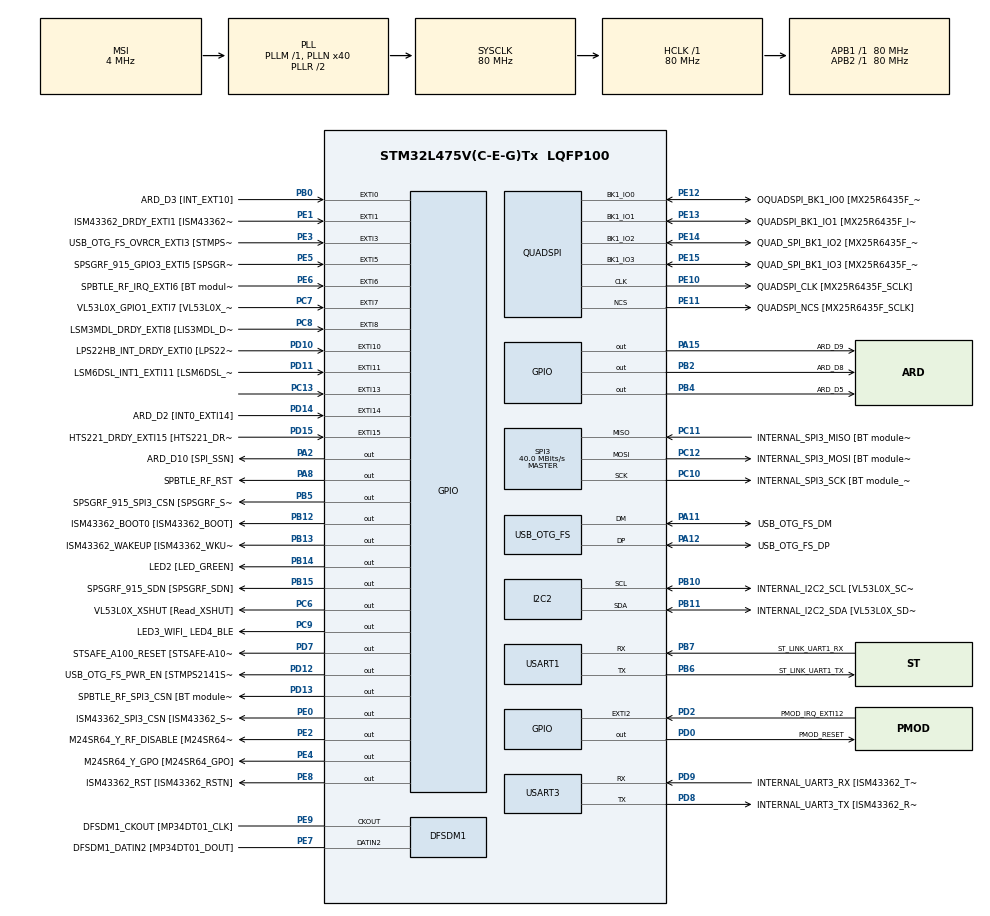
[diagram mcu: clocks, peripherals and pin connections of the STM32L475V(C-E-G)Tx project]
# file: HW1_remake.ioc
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FREERTOS.BinarySemaphores01=button,Dynamic,NULL,Available;timer,Dynamic,NULL,Available
FREERTOS.Mutexes01=blink,Dynamic,NULL,Available
FREERTOS.Tasks01=defaultTask,24,128,StartDefaultTask,Default,NULL,Dynamic,NULL,NULL;myTask02,47,128,StartTask02,Default,NULL,Dynamic,NULL,NULL
Mcu.Family=STM32L4
Mcu.Name=STM32L475V(C-E-G)Tx
Mcu.Package=LQFP100
NVIC.EXTI15_10_IRQn=true\:5\:0\:false\:false\:true\:true\:true\:true\:true
NVIC.EXTI9_5_IRQn=true\:5\:0\:false\:false\:true\:true\:true\:true\:true
NVIC.PriorityGroup=NVIC_PRIORITYGROUP_4
NVIC.TIM6_DAC_IRQn=true\:5\:0\:false\:false\:true\:true\:true\:true\:true
PA0.GPIO_Label=ARD_D1 [UART4_TX]
PA0.Signal=UART4_TX
PA1.GPIO_Label=ARD_D0 [UART4_RX]
PA1.Signal=UART4_RX
PA10.GPIO_Label=USB_OTG_FS_ID
PA10.Signal=USB_OTG_FS_ID
PA11.GPIO_Label=USB_OTG_FS_DM
PA11.Mode=Device_Only
PA11.Signal=USB_OTG_FS_DM
PA12.GPIO_Label=USB_OTG_FS_DP
PA12.Mode=Device_Only
PA12.Signal=USB_OTG_FS_DP
PA13\ (JTMS-SWDIO).GPIO_Label=SYS_JTMS_SWDIO
PA13\ (JTMS-SWDIO).Mode=Serial_Wire
PA13\ (JTMS-SWDIO).Signal=SYS_JTMS-SWDIO
PA14\ (JTCK-SWCLK).GPIO_Label=SYS_JTCK_SWCLK
PA14\ (JTCK-SWCLK).Mode=Serial_Wire
PA14\ (JTCK-SWCLK).Signal=SYS_JTCK-SWCLK
PA15\ (JTDI).GPIO_Label=ARD_D9
PA15\ (JTDI).Signal=GPIO_Output
PA2.GPIO_Label=ARD_D10 [SPI_SSN]
PA2.Signal=GPIO_Output
PA3.GPIO_Label=ARD_D4
PA3.Signal=S_TIM2_CH4
PA4.GPIO_Label=ARD_D7
PA4.Signal=ADCx_IN9
PA5.GPIO_Label=ARD_D13 [SPI1_SCK]
PA5.Signal=SPI1_SCK
PA6.GPIO_Label=ARD_D12 [SPI1_MISO]
PA6.Signal=SPI1_MISO
PA7.GPIO_Label=ARD_D11 [SPI1_MOSI]
PA7.Signal=SPI1_MOSI
PA8.GPIO_Label=SPBTLE_RF_RST
PA8.Signal=GPIO_Output
PA9.GPIO_Label=USB_OTG_FS_VBUS [STMPS2141STR_OUT]
PA9.Signal=USB_OTG_FS_VBUS
PB0.GPIO_Label=ARD_D3 [INT_EXT10]
PB0.Signal=GPXTI0
PB1.GPIO_Label=ARD_D6 [ADC1_IN6]
PB1.Signal=ADCx_IN16
PB10.GPIO_Label=INTERNAL_I2C2_SCL [VL53L0X_SCL]
PB10.GPIO_Pu=GPIO_PULLUP
PB10.Mode=I2C
PB10.Signal=I2C2_SCL
PB11.GPIO_Label=INTERNAL_I2C2_SDA [VL53L0X_SDA]
PB11.GPIO_Pu=GPIO_PULLUP
PB11.Mode=I2C
PB11.Signal=I2C2_SDA
PB12.GPIO_Label=ISM43362_BOOT0 [ISM43362_BOOT]
PB12.Signal=GPIO_Output
PB13.GPIO_Label=ISM43362_WAKEUP [ISM43362_WKUP]
PB13.Signal=GPIO_Output
PB14.GPIO_Label=LED2 [LED_GREEN]
PB14.Signal=GPIO_Output
PB15.GPIO_Label=SPSGRF_915_SDN [SPSGRF_SDN]
PB15.Signal=GPIO_Output
PB2.GPIO_Label=ARD_D8
PB2.Signal=GPIO_Output
PB3\ (JTDO-TRACESWO).GPIO_Label=SYS_JTD0_SWO
PB3\ (JTDO-TRACESWO).Signal=SYS_JTDO-SWO
PB4\ (NJTRST).GPIO_Label=ARD_D5
PB4\ (NJTRST).Signal=GPIO_Output
PB5.GPIO_Label=SPSGRF_915_SPI3_CSN [SPSGRF_SPI_CS]
PB5.PinState=GPIO_PIN_SET
PB5.Signal=GPIO_Output
PB6.GPIO_Label=ST_LINK_UART1_TX
PB6.Mode=Asynchronous
PB6.Signal=USART1_TX
PB7.GPIO_Label=ST_LINK_UART1_RX
PB7.Mode=Asynchronous
PB7.Signal=USART1_RX
PB8.GPIO_Label=ARD_D15 [I2C1_SCL]
PB8.Signal=I2C1_SCL
PB9.GPIO_Label=ARD_D14 [I2C1_SDA]
PB9.Signal=I2C1_SDA
PC0.GPIO_Label=ARD_A5 [ADC]
PC0.Signal=ADCx_IN1
PC1.GPIO_Label=ARD_A4 [ADC]
PC1.Signal=ADCx_IN2
PC10.GPIO_Label=INTERNAL_SPI3_SCK [BT module_SPI_SCLK] [ISM43362_SCK]
PC10.Mode=Full_Duplex_Master
PC10.Signal=SPI3_SCK
PC11.GPIO_Label=INTERNAL_SPI3_MISO [BT module_SPI_MISO] [ISM43362_MISO]
PC11.Mode=Full_Duplex_Master
PC11.Signal=SPI3_MISO
PC12.GPIO_Label=INTERNAL_SPI3_MOSI [BT module_SPI_MOSI] [ISM43362_MOSI]
PC12.Mode=Full_Duplex_Master
PC12.Signal=SPI3_MOSI
PC13.GPIO_ModeDefaultEXTI=GPIO_MODE_IT_FALLING
PC13.GPIO_PuPd=GPIO_PULLUP
PC13.Signal=GPXTI13
PC14-OSC32_IN\ (PC14).Mode=LSE-External-Oscillator
PC14-OSC32_IN\ (PC14).Signal=RCC_OSC32_IN
PC15-OSC32_OUT\ (PC15).Mode=LSE-External-Oscillator
PC15-OSC32_OUT\ (PC15).Signal=RCC_OSC32_OUT
PC2.GPIO_Label=ARD_A3 [ADC]
PC2.Signal=ADCx_IN3
PC3.GPIO_Label=ARD_A2 [ADC]
PC3.Signal=ADCx_IN4
PC4.GPIO_Label=ARD_A1 [ADC]
PC4.Signal=ADCx_IN13
PC5.GPIO_Label=ARD_A0 [ADC]
PC5.Signal=ADCx_IN14
PC6.GPIO_Label=VL53L0X_XSHUT [Read_XSHUT]
PC6.Signal=GPIO_Output
PC7.GPIO_Label=VL53L0X_GPIO1_EXTI7 [VL53L0X_GPIO1]
PC7.Signal=GPXTI7
PC8.GPIO_Label=LSM3MDL_DRDY_EXTI8 [LIS3MDL_DRDY]
PC8.Signal=GPXTI8
PC9.GPIO_Label=LED3_WIFI_ LED4_BLE
PC9.Signal=GPIO_Output
PD0.GPIO_Label=PMOD_RESET
PD0.Signal=GPIO_Output
PD1.GPIO_Label=PMOD_SPI2_SCK
PD1.Signal=SPI2_SCK
PD10.GPIO_Label=LPS22HB_INT_DRDY_EXTI0 [LPS22HB_INT_DRDY] 
PD10.Signal=GPXTI10
PD11.GPIO_Label=LSM6DSL_INT1_EXTI11 [LSM6DSL_INT1]
PD11.Signal=GPXTI11
PD12.GPIO_Label=USB_OTG_FS_PWR_EN [STMPS2141STR_EN]
PD12.Signal=GPIO_Output
PD13.GPIO_Label=SPBTLE_RF_SPI3_CSN [BT module_SPI_CS]
PD13.PinState=GPIO_PIN_SET
PD13.Signal=GPIO_Output
PD14.GPIO_Label=ARD_D2 [INT0_EXTI14]
PD14.Signal=GPXTI14
PD15.GPIO_Label=HTS221_DRDY_EXTI15 [HTS221_DRDY]
PD15.Signal=GPXTI15
PD2.GPIO_Label=PMOD_IRQ_EXTI12
PD2.Signal=GPXTI2
PD3.GPIO_Label=PMOD_UART2_CTS
PD3.Signal=USART2_CTS
PD4.GPIO_Label=PMOD_UART2_RTS
PD4.Signal=USART2_RTS
PD5.GPIO_Label=PMOD_UART2_TX
PD5.Signal=USART2_TX
PD6.GPIO_Label=PMOD_UART2_RX
PD6.Signal=USART2_RX
PD7.GPIO_Label=STSAFE_A100_RESET [STSAFE-A100_RESET]
PD7.Signal=GPIO_Output
PD8.GPIO_Label=INTERNAL_UART3_TX [ISM43362_RX]
PD8.Mode=Asynchronous
PD8.Signal=USART3_TX
PD9.GPIO_Label=INTERNAL_UART3_RX [ISM43362_TX]
PD9.Mode=Asynchronous
PD9.Signal=USART3_RX
PE0.GPIO_Label=ISM43362_SPI3_CSN [ISM43362_SSN]
PE0.PinState=GPIO_PIN_SET
PE0.Signal=GPIO_Output
PE1.GPIO_Label=ISM43362_DRDY_EXTI1 [ISM43362_DATARDY]
PE1.Signal=GPXTI1
PE10.GPIO_Label=QUADSPI_CLK [MX25R6435F_SCLK]
PE10.Mode=Single Bank
PE10.Signal=QUADSPI_CLK
PE11.GPIO_Label=QUADSPI_NCS [MX25R6435F_SCLK]
PE11.Mode=Single Bank
PE11.Signal=QUADSPI_NCS
PE12.GPIO_Label=OQUADSPI_BK1_IO0 [MX25R6435F_IO0]
PE12.Mode=Single Bank
PE12.Signal=QUADSPI_BK1_IO0
PE13.GPIO_Label=QUADSPI_BK1_IO1 [MX25R6435F_IO1]
PE13.Mode=Single Bank
PE13.Signal=QUADSPI_BK1_IO1
PE14.GPIO_Label=QUAD_SPI_BK1_IO2 [MX25R6435F_IO2]
PE14.Mode=Single Bank
PE14.Signal=QUADSPI_BK1_IO2
PE15.GPIO_Label=QUAD_SPI_BK1_IO3 [MX25R6435F_IO3]
PE15.Mode=Single Bank
PE15.Signal=QUADSPI_BK1_IO3
PE2.GPIO_Label=M24SR64_Y_RF_DISABLE [M24SR64_RFDIS]
PE2.Signal=GPIO_Output
PE3.GPIO_Label=USB_OTG_FS_OVRCR_EXTI3 [STMPS2141STR_FAULT]
PE3.Signal=GPXTI3
PE4.GPIO_Label=M24SR64_Y_GPO [M24SR64_GPO]
PE4.Signal=GPIO_Output
PE5.GPIO_Label=SPSGRF_915_GPIO3_EXTI5 [SPSGRF_GPIO_3]
PE5.Signal=GPXTI5
PE6.GPIO_Label=SPBTLE_RF_IRQ_EXTI6 [BT module_SPI_IRQ]
PE6.Signal=GPXTI6
PE7.GPIO_Label=DFSDM1_DATIN2 [MP34DT01_DOUT]
PE7.Signal=S_DATAIN2DFSDM1
PE8.GPIO_Label=ISM43362_RST [ISM43362_RSTN]
PE8.Signal=GPIO_Output
PE9.GPIO_Label=DFSDM1_CKOUT [MP34DT01_CLK]
PE9.Signal=S_CKOUTDFSDM1
ProjectManager.HeapSize=0x200
ProjectManager.StackSize=0x400
ProjectManager.TargetToolchain=STM32CubeIDE
QUADSPI.ClockPrescaler=2
QUADSPI.FifoThreshold=4
QUADSPI.FlashSize=23
QUADSPI.SampleShifting=QSPI_SAMPLE_SHIFTING_HALFCYCLE
RCC.ADCFreq_Value=48000000
RCC.AHBFreq_Value=80000000
RCC.APB1Freq_Value=80000000
RCC.APB1TimFreq_Value=80000000
RCC.APB2Freq_Value=80000000
RCC.APB2TimFreq_Value=80000000
RCC.CortexFreq_Value=80000000
RCC.HCLKFreq_Value=80000000
RCC.HSE_VALUE=8000000
RCC.HSI_VALUE=16000000
RCC.MSI_VALUE=4000000
RCC.PLLN=40
RCC.PLLSAI1N=24
RCC.SYSCLKFreq_VALUE=80000000
RCC.SYSCLKSource=RCC_SYSCLKSOURCE_PLLCLK
RCC.USBFreq_Value=48000000
RCC.VCOOutputFreq_Value=160000000
SH.ADCx_IN1.0=ADC1_IN1
SH.ADCx_IN13.0=ADC1_IN13
SH.ADCx_IN14.0=ADC1_IN14
SH.ADCx_IN16.0=ADC1_IN16
SH.ADCx_IN2.0=ADC1_IN2
SH.ADCx_IN3.0=ADC1_IN3
SH.ADCx_IN4.0=ADC1_IN4
SH.ADCx_IN9.0=ADC1_IN9
SH.S_CKOUTDFSDM1.0=DFSDM1_CKOUT,CKOUT
SH.S_CKOUTDFSDM1.1=DFSDM1_CKOUT,PDM_SPI_Input_from_ch12_and_Internal_Clock
SH.S_DATAIN2DFSDM1.0=DFSDM1_DATIN2,PDM_SPI_Input_from_ch12_and_Internal_Clock
SH.S_TIM2_CH4.0=TIM2_CH4
SPI3.CalculateBaudRate=40.0 MBits/s
SPI3.Direction=SPI_DIRECTION_2LINES
SPI3.Mode=SPI_MODE_MASTER
SPI3.VirtualType=VM_MASTER
TIM6.AutoReloadPreload=TIM_AUTORELOAD_PRELOAD_ENABLE
TIM6.Period=19999
TIM6.Prescaler=39999
USART1.VirtualMode-Asynchronous=VM_ASYNC
USART3.VirtualMode-Asynchronous=VM_ASYNC
USB_OTG_FS.VirtualMode=Device_Only
VP_FREERTOS_VS_CMSIS_V2.Mode=CMSIS_V2
VP_TIM6_VS_ClockSourceINT.Mode=Enable_Timer
board=B-L475E-IOT01A2

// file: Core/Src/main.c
/* USER CODE BEGIN Header */
/**
  ******************************************************************************
  * @file           : main.c
  * @brief          : Main program body
  ******************************************************************************
  * @attention
  *
  * Copyright (c) 2024 STMicroelectronics.
  * All rights reserved.
  *
  * This software is licensed under terms that can be found in the LICENSE file
  * in the root directory of this software component.
  * If no LICENSE file comes with this software, it is provided AS-IS.
  *
  ******************************************************************************
  */
/* USER CODE END Header */
#include "main.h"
#include "cmsis_os.h"

DFSDM_Channel_HandleTypeDef hdfsdm1_channel1;

I2C_HandleTypeDef hi2c2;

QSPI_HandleTypeDef hqspi;

SPI_HandleTypeDef hspi3;

TIM_HandleTypeDef htim6;

UART_HandleTypeDef huart1;
UART_HandleTypeDef huart3;

PCD_HandleTypeDef hpcd_USB_OTG_FS;

/* Definitions for defaultTask */
osThreadId_t defaultTaskHandle;
const osThreadAttr_t defaultTask_attributes = {
  .name = "defaultTask",
  .stack_size = 128 * 4,
  .priority = (osPriority_t) osPriorityNormal,
};
/* Definitions for myTask02 */
osThreadId_t myTask02Handle;
const osThreadAttr_t myTask02_attributes = {
  .name = "myTask02",
  .stack_size = 128 * 4,
  .priority = (osPriority_t) osPriorityHigh7,
};
/* Definitions for blink */
osMutexId_t blinkHandle;
const osMutexAttr_t blink_attributes = {
  .name = "blink"
};
/* Definitions for button */
osSemaphoreId_t buttonHandle;
const osSemaphoreAttr_t button_attributes = {
  .name = "button"
};
/* Definitions for timer */
osSemaphoreId_t timerHandle;
const osSemaphoreAttr_t timer_attributes = {
  .name = "timer"
};

void SystemClock_Config(void);
static void MX_GPIO_Init(void);
static void MX_DFSDM1_Init(void);
static void MX_I2C2_Init(void);
static void MX_QUADSPI_Init(void);
static void MX_SPI3_Init(void);
static void MX_USART1_UART_Init(void);
static void MX_USART3_UART_Init(void);
static void MX_USB_OTG_FS_PCD_Init(void);
static void MX_TIM6_Init(void);
void StartDefaultTask(void *argument);
void StartTask02(void *argument);

/* USER CODE BEGIN 0 */
void HAL_GPIO_EXTI_Callback(uint16_t GPIO_Pin) {
    if (GPIO_Pin == GPIO_PIN_13) {
        // Release the button semaphore from ISR
        osSemaphoreRelease(buttonHandle);
    }
}

// Timer Interrupt Handler
void HAL_TIM_PeriodElapsedCallback(TIM_HandleTypeDef *htim) {
    if (htim->Instance == TIM6) {
        // Release the timer semaphore from ISR
        osSemaphoreRelease(timerHandle);
    }
}
/* USER CODE END 0 */

int main(void)
{

  /* MCU Configuration--------------------------------------------------------*/

  /* Reset of all peripherals, Initializes the Flash interface and the Systick. */
  HAL_Init();

  /* Configure the system clock */
  SystemClock_Config();

  /* Initialize all configured peripherals */
  MX_GPIO_Init();
  MX_DFSDM1_Init();
  MX_I2C2_Init();
  MX_QUADSPI_Init();
  MX_SPI3_Init();
  MX_USART1_UART_Init();
  MX_USART3_UART_Init();
  MX_USB_OTG_FS_PCD_Init();
  MX_TIM6_Init();
  /* USER CODE BEGIN 2 */

  HAL_TIM_Base_Start_IT(&htim6);

  /* USER CODE END 2 */

  /* Init scheduler */
  osKernelInitialize();
  /* Create the mutex(es) */
  /* creation of blink */
  blinkHandle = osMutexNew(&blink_attributes);

  /* Create the semaphores(s) */
  /* creation of button */
  buttonHandle = osSemaphoreNew(1, 0, &button_attributes);

  /* creation of timer */
  timerHandle = osSemaphoreNew(1, 0, &timer_attributes);

  /* Create the thread(s) */
  /* creation of defaultTask */
  defaultTaskHandle = osThreadNew(StartDefaultTask, NULL, &defaultTask_attributes);

  /* creation of myTask02 */
  myTask02Handle = osThreadNew(StartTask02, NULL, &myTask02_attributes);

  /* Start scheduler */
  osKernelStart();

  /* We should never get here as control is now taken by the scheduler */

  /* Infinite loop */
  while (1)
  {

  }
}

void SystemClock_Config(void)
{
  RCC_OscInitTypeDef RCC_OscInitStruct = {0};
  RCC_ClkInitTypeDef RCC_ClkInitStruct = {0};

  /** Configure the main internal regulator output voltage
  */
  if (HAL_PWREx_ControlVoltageScaling(PWR_REGULATOR_VOLTAGE_SCALE1) != HAL_OK)
  {
    Error_Handler();
  }

  /** Configure LSE Drive Capability
  */
  HAL_PWR_EnableBkUpAccess();
  __HAL_RCC_LSEDRIVE_CONFIG(RCC_LSEDRIVE_LOW);

  /** Initializes the RCC Oscillators according to the specified parameters
  * in the RCC_OscInitTypeDef structure.
  */
  RCC_OscInitStruct.OscillatorType = RCC_OSCILLATORTYPE_LSE|RCC_OSCILLATORTYPE_MSI;
  RCC_OscInitStruct.LSEState = RCC_LSE_ON;
  RCC_OscInitStruct.MSIState = RCC_MSI_ON;
  RCC_OscInitStruct.MSICalibrationValue = 0;
  RCC_OscInitStruct.MSIClockRange = RCC_MSIRANGE_6;
  RCC_OscInitStruct.PLL.PLLState = RCC_PLL_ON;
  RCC_OscInitStruct.PLL.PLLSource = RCC_PLLSOURCE_MSI;
  RCC_OscInitStruct.PLL.PLLM = 1;
  RCC_OscInitStruct.PLL.PLLN = 40;
  RCC_OscInitStruct.PLL.PLLP = RCC_PLLP_DIV7;
  RCC_OscInitStruct.PLL.PLLQ = RCC_PLLQ_DIV2;
  RCC_OscInitStruct.PLL.PLLR = RCC_PLLR_DIV2;
  if (HAL_RCC_OscConfig(&RCC_OscInitStruct) != HAL_OK)
  {
    Error_Handler();
  }

  /** Initializes the CPU, AHB and APB buses clocks
  */
  RCC_ClkInitStruct.ClockType = RCC_CLOCKTYPE_HCLK|RCC_CLOCKTYPE_SYSCLK
                              |RCC_CLOCKTYPE_PCLK1|RCC_CLOCKTYPE_PCLK2;
  RCC_ClkInitStruct.SYSCLKSource = RCC_SYSCLKSOURCE_PLLCLK;
  RCC_ClkInitStruct.AHBCLKDivider = RCC_SYSCLK_DIV1;
  RCC_ClkInitStruct.APB1CLKDivider = RCC_HCLK_DIV1;
  RCC_ClkInitStruct.APB2CLKDivider = RCC_HCLK_DIV1;

  if (HAL_RCC_ClockConfig(&RCC_ClkInitStruct, FLASH_LATENCY_4) != HAL_OK)
  {
    Error_Handler();
  }

  /** Enable MSI Auto calibration
  */
  HAL_RCCEx_EnableMSIPLLMode();
}

static void MX_DFSDM1_Init(void)
{

  hdfsdm1_channel1.Instance = DFSDM1_Channel1;
  hdfsdm1_channel1.Init.OutputClock.Activation = ENABLE;
  hdfsdm1_channel1.Init.OutputClock.Selection = DFSDM_CHANNEL_OUTPUT_CLOCK_SYSTEM;
  hdfsdm1_channel1.Init.OutputClock.Divider = 2;
  hdfsdm1_channel1.Init.Input.Multiplexer = DFSDM_CHANNEL_EXTERNAL_INPUTS;
  hdfsdm1_channel1.Init.Input.DataPacking = DFSDM_CHANNEL_STANDARD_MODE;
  hdfsdm1_channel1.Init.Input.Pins = DFSDM_CHANNEL_FOLLOWING_CHANNEL_PINS;
  hdfsdm1_channel1.Init.SerialInterface.Type = DFSDM_CHANNEL_SPI_RISING;
  hdfsdm1_channel1.Init.SerialInterface.SpiClock = DFSDM_CHANNEL_SPI_CLOCK_INTERNAL;
  hdfsdm1_channel1.Init.Awd.FilterOrder = DFSDM_CHANNEL_FASTSINC_ORDER;
  hdfsdm1_channel1.Init.Awd.Oversampling = 1;
  hdfsdm1_channel1.Init.Offset = 0;
  hdfsdm1_channel1.Init.RightBitShift = 0x00;
  if (HAL_DFSDM_ChannelInit(&hdfsdm1_channel1) != HAL_OK)
  {
    Error_Handler();
  }

}

static void MX_I2C2_Init(void)
{

  hi2c2.Instance = I2C2;
  hi2c2.Init.Timing = 0x00000E14;
  hi2c2.Init.OwnAddress1 = 0;
  hi2c2.Init.AddressingMode = I2C_ADDRESSINGMODE_7BIT;
  hi2c2.Init.DualAddressMode = I2C_DUALADDRESS_DISABLE;
  hi2c2.Init.OwnAddress2 = 0;
  hi2c2.Init.OwnAddress2Masks = I2C_OA2_NOMASK;
  hi2c2.Init.GeneralCallMode = I2C_GENERALCALL_DISABLE;
  hi2c2.Init.NoStretchMode = I2C_NOSTRETCH_DISABLE;
  if (HAL_I2C_Init(&hi2c2) != HAL_OK)
  {
    Error_Handler();
  }

  /** Configure Analogue filter
  */
  if (HAL_I2CEx_ConfigAnalogFilter(&hi2c2, I2C_ANALOGFILTER_ENABLE) != HAL_OK)
  {
    Error_Handler();
  }

  /** Configure Digital filter
  */
  if (HAL_I2CEx_ConfigDigitalFilter(&hi2c2, 0) != HAL_OK)
  {
    Error_Handler();
  }

}

static void MX_QUADSPI_Init(void)
{

  /* QUADSPI parameter configuration*/
  hqspi.Instance = QUADSPI;
  hqspi.Init.ClockPrescaler = 2;
  hqspi.Init.FifoThreshold = 4;
  hqspi.Init.SampleShifting = QSPI_SAMPLE_SHIFTING_HALFCYCLE;
  hqspi.Init.FlashSize = 23;
  hqspi.Init.ChipSelectHighTime = QSPI_CS_HIGH_TIME_1_CYCLE;
  hqspi.Init.ClockMode = QSPI_CLOCK_MODE_0;
  if (HAL_QSPI_Init(&hqspi) != HAL_OK)
  {
    Error_Handler();
  }

}

static void MX_SPI3_Init(void)
{

  /* SPI3 parameter configuration*/
  hspi3.Instance = SPI3;
  hspi3.Init.Mode = SPI_MODE_MASTER;
  hspi3.Init.Direction = SPI_DIRECTION_2LINES;
  hspi3.Init.DataSize = SPI_DATASIZE_4BIT;
  hspi3.Init.CLKPolarity = SPI_POLARITY_LOW;
  hspi3.Init.CLKPhase = SPI_PHASE_1EDGE;
  hspi3.Init.NSS = SPI_NSS_SOFT;
  hspi3.Init.BaudRatePrescaler = SPI_BAUDRATEPRESCALER_2;
  hspi3.Init.FirstBit = SPI_FIRSTBIT_MSB;
  hspi3.Init.TIMode = SPI_TIMODE_DISABLE;
  hspi3.Init.CRCCalculation = SPI_CRCCALCULATION_DISABLE;
  hspi3.Init.CRCPolynomial = 7;
  hspi3.Init.CRCLength = SPI_CRC_LENGTH_DATASIZE;
  hspi3.Init.NSSPMode = SPI_NSS_PULSE_ENABLE;
  if (HAL_SPI_Init(&hspi3) != HAL_OK)
  {
    Error_Handler();
  }

}

static void MX_TIM6_Init(void)
{

  TIM_MasterConfigTypeDef sMasterConfig = {0};

  htim6.Instance = TIM6;
  htim6.Init.Prescaler = 39999;
  htim6.Init.CounterMode = TIM_COUNTERMODE_UP;
  htim6.Init.Period = 19999;
  htim6.Init.AutoReloadPreload = TIM_AUTORELOAD_PRELOAD_ENABLE;
  if (HAL_TIM_Base_Init(&htim6) != HAL_OK)
  {
    Error_Handler();
  }
  sMasterConfig.MasterOutputTrigger = TIM_TRGO_RESET;
  sMasterConfig.MasterSlaveMode = TIM_MASTERSLAVEMODE_DISABLE;
  if (HAL_TIMEx_MasterConfigSynchronization(&htim6, &sMasterConfig) != HAL_OK)
  {
    Error_Handler();
  }

}

static void MX_USART1_UART_Init(void)
{

  huart1.Instance = USART1;
  huart1.Init.BaudRate = 115200;
  huart1.Init.WordLength = UART_WORDLENGTH_8B;
  huart1.Init.StopBits = UART_STOPBITS_1;
  huart1.Init.Parity = UART_PARITY_NONE;
  huart1.Init.Mode = UART_MODE_TX_RX;
  huart1.Init.HwFlowCtl = UART_HWCONTROL_NONE;
  huart1.Init.OverSampling = UART_OVERSAMPLING_16;
  huart1.Init.OneBitSampling = UART_ONE_BIT_SAMPLE_DISABLE;
  huart1.AdvancedInit.AdvFeatureInit = UART_ADVFEATURE_NO_INIT;
  if (HAL_UART_Init(&huart1) != HAL_OK)
  {
    Error_Handler();
  }

}

static void MX_USART3_UART_Init(void)
{

  huart3.Instance = USART3;
  huart3.Init.BaudRate = 115200;
  huart3.Init.WordLength = UART_WORDLENGTH_8B;
  huart3.Init.StopBits = UART_STOPBITS_1;
  huart3.Init.Parity = UART_PARITY_NONE;
  huart3.Init.Mode = UART_MODE_TX_RX;
  huart3.Init.HwFlowCtl = UART_HWCONTROL_NONE;
  huart3.Init.OverSampling = UART_OVERSAMPLING_16;
  huart3.Init.OneBitSampling = UART_ONE_BIT_SAMPLE_DISABLE;
  huart3.AdvancedInit.AdvFeatureInit = UART_ADVFEATURE_NO_INIT;
  if (HAL_UART_Init(&huart3) != HAL_OK)
  {
    Error_Handler();
  }

}

static void MX_USB_OTG_FS_PCD_Init(void)
{

  hpcd_USB_OTG_FS.Instance = USB_OTG_FS;
  hpcd_USB_OTG_FS.Init.dev_endpoints = 6;
  hpcd_USB_OTG_FS.Init.speed = PCD_SPEED_FULL;
  hpcd_USB_OTG_FS.Init.phy_itface = PCD_PHY_EMBEDDED;
  hpcd_USB_OTG_FS.Init.Sof_enable = DISABLE;
  hpcd_USB_OTG_FS.Init.low_power_enable = DISABLE;
  hpcd_USB_OTG_FS.Init.lpm_enable = DISABLE;
  hpcd_USB_OTG_FS.Init.battery_charging_enable = DISABLE;
  hpcd_USB_OTG_FS.Init.use_dedicated_ep1 = DISABLE;
  hpcd_USB_OTG_FS.Init.vbus_sensing_enable = DISABLE;
  if (HAL_PCD_Init(&hpcd_USB_OTG_FS) != HAL_OK)
  {
    Error_Handler();
  }

}

static void MX_GPIO_Init(void)
{
  GPIO_InitTypeDef GPIO_InitStruct = {0};

  /* GPIO Ports Clock Enable */
  __HAL_RCC_GPIOE_CLK_ENABLE();
  __HAL_RCC_GPIOC_CLK_ENABLE();
  __HAL_RCC_GPIOA_CLK_ENABLE();
  __HAL_RCC_GPIOB_CLK_ENABLE();
  __HAL_RCC_GPIOD_CLK_ENABLE();

  /*Configure GPIO pin Output Level */
  HAL_GPIO_WritePin(GPIOE, M24SR64_Y_RF_DISABLE_Pin|M24SR64_Y_GPO_Pin|ISM43362_RST_Pin, GPIO_PIN_RESET);

  /*Configure GPIO pin Output Level */
  HAL_GPIO_WritePin(GPIOA, ARD_D10_Pin|SPBTLE_RF_RST_Pin|ARD_D9_Pin, GPIO_PIN_RESET);

  /*Configure GPIO pin Output Level */
  HAL_GPIO_WritePin(GPIOB, ARD_D8_Pin|ISM43362_BOOT0_Pin|ISM43362_WAKEUP_Pin|LED2_Pin
                          |SPSGRF_915_SDN_Pin|ARD_D5_Pin, GPIO_PIN_RESET);

  /*Configure GPIO pin Output Level */
  HAL_GPIO_WritePin(GPIOD, USB_OTG_FS_PWR_EN_Pin|PMOD_RESET_Pin|STSAFE_A100_RESET_Pin, GPIO_PIN_RESET);

  /*Configure GPIO pin Output Level */
  HAL_GPIO_WritePin(SPBTLE_RF_SPI3_CSN_GPIO_Port, SPBTLE_RF_SPI3_CSN_Pin, GPIO_PIN_SET);

  /*Configure GPIO pin Output Level */
  HAL_GPIO_WritePin(GPIOC, VL53L0X_XSHUT_Pin|LED3_WIFI__LED4_BLE_Pin, GPIO_PIN_RESET);

  /*Configure GPIO pin Output Level */
  HAL_GPIO_WritePin(SPSGRF_915_SPI3_CSN_GPIO_Port, SPSGRF_915_SPI3_CSN_Pin, GPIO_PIN_SET);

  /*Configure GPIO pin Output Level */
  HAL_GPIO_WritePin(ISM43362_SPI3_CSN_GPIO_Port, ISM43362_SPI3_CSN_Pin, GPIO_PIN_SET);

  /*Configure GPIO pins : M24SR64_Y_RF_DISABLE_Pin M24SR64_Y_GPO_Pin ISM43362_RST_Pin ISM43362_SPI3_CSN_Pin */
  GPIO_InitStruct.Pin = M24SR64_Y_RF_DISABLE_Pin|M24SR64_Y_GPO_Pin|ISM43362_RST_Pin|ISM43362_SPI3_CSN_Pin;
  GPIO_InitStruct.Mode = GPIO_MODE_OUTPUT_PP;
  GPIO_InitStruct.Pull = GPIO_NOPULL;
  GPIO_InitStruct.Speed = GPIO_SPEED_FREQ_LOW;
  HAL_GPIO_Init(GPIOE, &GPIO_InitStruct);

  /*Configure GPIO pins : USB_OTG_FS_OVRCR_EXTI3_Pin SPSGRF_915_GPIO3_EXTI5_Pin SPBTLE_RF_IRQ_EXTI6_Pin ISM43362_DRDY_EXTI1_Pin */
  GPIO_InitStruct.Pin = USB_OTG_FS_OVRCR_EXTI3_Pin|SPSGRF_915_GPIO3_EXTI5_Pin|SPBTLE_RF_IRQ_EXTI6_Pin|ISM43362_DRDY_EXTI1_Pin;
  GPIO_InitStruct.Mode = GPIO_MODE_IT_RISING;
  GPIO_InitStruct.Pull = GPIO_NOPULL;
  HAL_GPIO_Init(GPIOE, &GPIO_InitStruct);

  /*Configure GPIO pin : PC13 */
  GPIO_InitStruct.Pin = GPIO_PIN_13;
  GPIO_InitStruct.Mode = GPIO_MODE_IT_FALLING;
  GPIO_InitStruct.Pull = GPIO_PULLUP;
  HAL_GPIO_Init(GPIOC, &GPIO_InitStruct);

  /*Configure GPIO pins : ARD_A5_Pin ARD_A4_Pin ARD_A3_Pin ARD_A2_Pin
                           ARD_A1_Pin ARD_A0_Pin */
  GPIO_InitStruct.Pin = ARD_A5_Pin|ARD_A4_Pin|ARD_A3_Pin|ARD_A2_Pin
                          |ARD_A1_Pin|ARD_A0_Pin;
  GPIO_InitStruct.Mode = GPIO_MODE_ANALOG_ADC_CONTROL;
  GPIO_InitStruct.Pull = GPIO_NOPULL;
  HAL_GPIO_Init(GPIOC, &GPIO_InitStruct);

  /*Configure GPIO pins : ARD_D1_Pin ARD_D0_Pin */
  GPIO_InitStruct.Pin = ARD_D1_Pin|ARD_D0_Pin;
  GPIO_InitStruct.Mode = GPIO_MODE_AF_PP;
  GPIO_InitStruct.Pull = GPIO_NOPULL;
  GPIO_InitStruct.Speed = GPIO_SPEED_FREQ_VERY_HIGH;
  GPIO_InitStruct.Alternate = GPIO_AF8_UART4;
  HAL_GPIO_Init(GPIOA, &GPIO_InitStruct);

  /*Configure GPIO pins : ARD_D10_Pin SPBTLE_RF_RST_Pin ARD_D9_Pin */
  GPIO_InitStruct.Pin = ARD_D10_Pin|SPBTLE_RF_RST_Pin|ARD_D9_Pin;
  GPIO_InitStruct.Mode = GPIO_MODE_OUTPUT_PP;
  GPIO_InitStruct.Pull = GPIO_NOPULL;
  GPIO_InitStruct.Speed = GPIO_SPEED_FREQ_LOW;
  HAL_GPIO_Init(GPIOA, &GPIO_InitStruct);

  /*Configure GPIO pin : ARD_D4_Pin */
  GPIO_InitStruct.Pin = ARD_D4_Pin;
  GPIO_InitStruct.Mode = GPIO_MODE_AF_PP;
  GPIO_InitStruct.Pull = GPIO_NOPULL;
  GPIO_InitStruct.Speed = GPIO_SPEED_FREQ_LOW;
  GPIO_InitStruct.Alternate = GPIO_AF1_TIM2;
  HAL_GPIO_Init(ARD_D4_GPIO_Port, &GPIO_InitStruct);

  /*Configure GPIO pin : ARD_D7_Pin */
  GPIO_InitStruct.Pin = ARD_D7_Pin;
  GPIO_InitStruct.Mode = GPIO_MODE_ANALOG_ADC_CONTROL;
  GPIO_InitStruct.Pull = GPIO_NOPULL;
  HAL_GPIO_Init(ARD_D7_GPIO_Port, &GPIO_InitStruct);

  /*Configure GPIO pins : ARD_D13_Pin ARD_D12_Pin ARD_D11_Pin */
  GPIO_InitStruct.Pin = ARD_D13_Pin|ARD_D12_Pin|ARD_D11_Pin;
  GPIO_InitStruct.Mode = GPIO_MODE_AF_PP;
  GPIO_InitStruct.Pull = GPIO_NOPULL;
  GPIO_InitStruct.Speed = GPIO_SPEED_FREQ_VERY_HIGH;
  GPIO_InitStruct.Alternate = GPIO_AF5_SPI1;
  HAL_GPIO_Init(GPIOA, &GPIO_InitStruct);

  /*Configure GPIO pin : ARD_D3_Pin */
  GPIO_InitStruct.Pin = ARD_D3_Pin;
  GPIO_InitStruct.Mode = GPIO_MODE_IT_RISING;
  GPIO_InitStruct.Pull = GPIO_NOPULL;
  HAL_GPIO_Init(ARD_D3_GPIO_Port, &GPIO_InitStruct);

  /*Configure GPIO pin : ARD_D6_Pin */
  GPIO_InitStruct.Pin = ARD_D6_Pin;
  GPIO_InitStruct.Mode = GPIO_MODE_ANALOG_ADC_CONTROL;
  GPIO_InitStruct.Pull = GPIO_NOPULL;
  HAL_GPIO_Init(ARD_D6_GPIO_Port, &GPIO_InitStruct);

  /*Configure GPIO pins : ARD_D8_Pin ISM43362_BOOT0_Pin ISM43362_WAKEUP_Pin LED2_Pin
                           SPSGRF_915_SDN_Pin ARD_D5_Pin SPSGRF_915_SPI3_CSN_Pin */
  GPIO_InitStruct.Pin = ARD_D8_Pin|ISM43362_BOOT0_Pin|ISM43362_WAKEUP_Pin|LED2_Pin
                          |SPSGRF_915_SDN_Pin|ARD_D5_Pin|SPSGRF_915_SPI3_CSN_Pin;
  GPIO_InitStruct.Mode = GPIO_MODE_OUTPUT_PP;
  GPIO_InitStruct.Pull = GPIO_NOPULL;
  GPIO_InitStruct.Speed = GPIO_SPEED_FREQ_LOW;
  HAL_GPIO_Init(GPIOB, &GPIO_InitStruct);

  /*Configure GPIO pins : LPS22HB_INT_DRDY_EXTI0_Pin LSM6DSL_INT1_EXTI11_Pin ARD_D2_Pin HTS221_DRDY_EXTI15_Pin
                           PMOD_IRQ_EXTI12_Pin */
  GPIO_InitStruct.Pin = LPS22HB_INT_DRDY_EXTI0_Pin|LSM6DSL_INT1_EXTI11_Pin|ARD_D2_Pin|HTS221_DRDY_EXTI15_Pin
                          |PMOD_IRQ_EXTI12_Pin;
  GPIO_InitStruct.Mode = GPIO_MODE_IT_RISING;
  GPIO_InitStruct.Pull = GPIO_NOPULL;
  HAL_GPIO_Init(GPIOD, &GPIO_InitStruct);

  /*Configure GPIO pins : USB_OTG_FS_PWR_EN_Pin SPBTLE_RF_SPI3_CSN_Pin PMOD_RESET_Pin STSAFE_A100_RESET_Pin */
  GPIO_InitStruct.Pin = USB_OTG_FS_PWR_EN_Pin|SPBTLE_RF_SPI3_CSN_Pin|PMOD_RESET_Pin|STSAFE_A100_RESET_Pin;
  GPIO_InitStruct.Mode = GPIO_MODE_OUTPUT_PP;
  GPIO_InitStruct.Pull = GPIO_NOPULL;
  GPIO_InitStruct.Speed = GPIO_SPEED_FREQ_LOW;
  HAL_GPIO_Init(GPIOD, &GPIO_InitStruct);

  /*Configure GPIO pins : VL53L0X_XSHUT_Pin LED3_WIFI__LED4_BLE_Pin */
  GPIO_InitStruct.Pin = VL53L0X_XSHUT_Pin|LED3_WIFI__LED4_BLE_Pin;
  GPIO_InitStruct.Mode = GPIO_MODE_OUTPUT_PP;
  GPIO_InitStruct.Pull = GPIO_NOPULL;
  GPIO_InitStruct.Speed = GPIO_SPEED_FREQ_LOW;
  HAL_GPIO_Init(GPIOC, &GPIO_InitStruct);

  /*Configure GPIO pins : VL53L0X_GPIO1_EXTI7_Pin LSM3MDL_DRDY_EXTI8_Pin */
  GPIO_InitStruct.Pin = VL53L0X_GPIO1_EXTI7_Pin|LSM3MDL_DRDY_EXTI8_Pin;
  GPIO_InitStruct.Mode = GPIO_MODE_IT_RISING;
  GPIO_InitStruct.Pull = GPIO_NOPULL;
  HAL_GPIO_Init(GPIOC, &GPIO_InitStruct);

  /*Configure GPIO pin : PMOD_SPI2_SCK_Pin */
  GPIO_InitStruct.Pin = PMOD_SPI2_SCK_Pin;
  GPIO_InitStruct.Mode = GPIO_MODE_AF_PP;
  GPIO_InitStruct.Pull = GPIO_NOPULL;
  GPIO_InitStruct.Speed = GPIO_SPEED_FREQ_VERY_HIGH;
  GPIO_InitStruct.Alternate = GPIO_AF5_SPI2;
  HAL_GPIO_Init(PMOD_SPI2_SCK_GPIO_Port, &GPIO_InitStruct);

  /*Configure GPIO pins : PMOD_UART2_CTS_Pin PMOD_UART2_RTS_Pin PMOD_UART2_TX_Pin PMOD_UART2_RX_Pin */
  GPIO_InitStruct.Pin = PMOD_UART2_CTS_Pin|PMOD_UART2_RTS_Pin|PMOD_UART2_TX_Pin|PMOD_UART2_RX_Pin;
  GPIO_InitStruct.Mode = GPIO_MODE_AF_PP;
  GPIO_InitStruct.Pull = GPIO_NOPULL;
  GPIO_InitStruct.Speed = GPIO_SPEED_FREQ_VERY_HIGH;
  GPIO_InitStruct.Alternate = GPIO_AF7_USART2;
  HAL_GPIO_Init(GPIOD, &GPIO_InitStruct);

  /*Configure GPIO pins : ARD_D15_Pin ARD_D14_Pin */
  GPIO_InitStruct.Pin = ARD_D15_Pin|ARD_D14_Pin;
  GPIO_InitStruct.Mode = GPIO_MODE_AF_OD;
  GPIO_InitStruct.Pull = GPIO_NOPULL;
  GPIO_InitStruct.Speed = GPIO_SPEED_FREQ_VERY_HIGH;
  GPIO_InitStruct.Alternate = GPIO_AF4_I2C1;
  HAL_GPIO_Init(GPIOB, &GPIO_InitStruct);

  /* EXTI interrupt init*/
  HAL_NVIC_SetPriority(EXTI9_5_IRQn, 5, 0);
  HAL_NVIC_EnableIRQ(EXTI9_5_IRQn);

  HAL_NVIC_SetPriority(EXTI15_10_IRQn, 5, 0);
  HAL_NVIC_EnableIRQ(EXTI15_10_IRQn);

}

void StartDefaultTask(void *argument)
{
  /* USER CODE BEGIN 5 */
  /* Infinite loop */
  for(;;)
  {
	  if (osSemaphoreAcquire(buttonHandle, osWaitForever)== osOK) {
	              // Acquire the mutex before starting the blink operation
	              if (osMutexAcquire(blinkHandle, osWaitForever) == osOK) {
	                  // Blink LED2 at 1 Hz for 5 seconds
	                  for (int i = 0; i < 10; i++) {
	                      HAL_GPIO_TogglePin(GPIOB, GPIO_PIN_14);
	                      osDelay(500); // 500ms delay for 1 Hz blinking
	                  }
	                  // Release the mutex after blinking is done
	                  osMutexRelease(blinkHandle);

	              }
	          }
  }
  /* USER CODE END 5 */
}

void StartTask02(void *argument)
{
  /* USER CODE BEGIN StartTask02 */
  /* Infinite loop */
  for(;;)
  {
	  if (osSemaphoreAcquire(timerHandle, osWaitForever) == osOK) {
	              // Acquire the mutex before starting the blink operation
	              if (osMutexAcquire(blinkHandle, osWaitForever) == osOK) {
	                  // Blink LED2 at 10 Hz for 2 seconds
	                  for (int i = 0; i < 40; i++) {
	                      HAL_GPIO_TogglePin(GPIOB, GPIO_PIN_14);
	                      osDelay(50); // 50ms delay for 10 Hz blinking
	                  }
	                  // Release the mutex after blinking is done
	                  osMutexRelease(blinkHandle);

	              }

	          }

  }
  /* USER CODE END StartTask02 */
}

void Error_Handler(void)
{
  __disable_irq();
  while (1)
  {
  }
}
